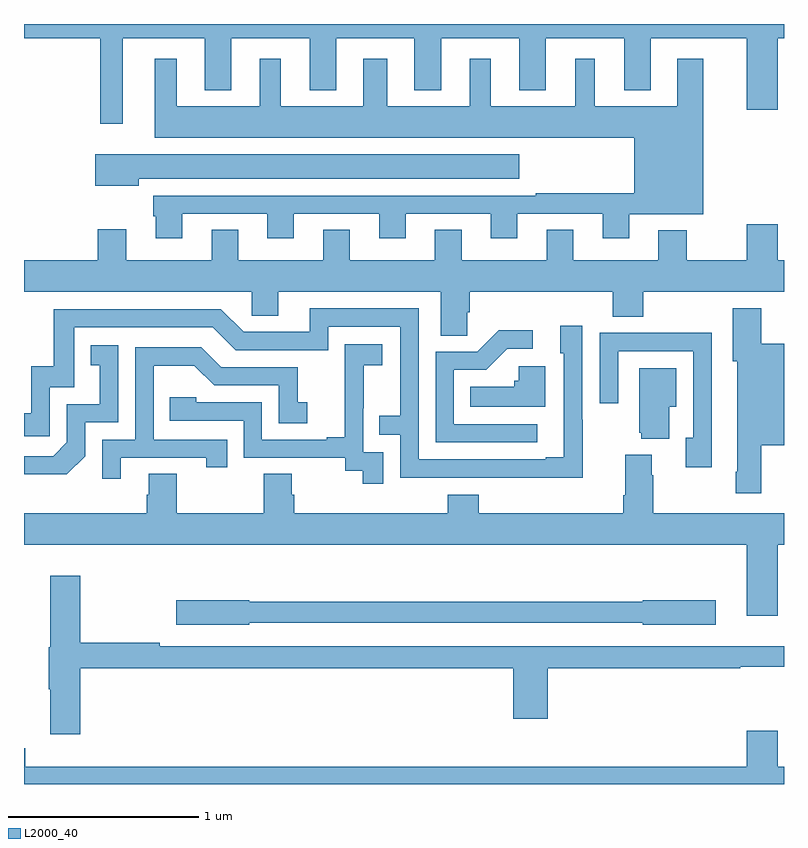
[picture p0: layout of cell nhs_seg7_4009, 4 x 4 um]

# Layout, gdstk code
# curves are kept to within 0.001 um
import gdstk
lib = gdstk.Library(unit=1e-6, precision=1e-09)
def P(c, l, *ps):  # polygons
    for p in ps: c.add(gdstk.Polygon(p, *l))
L2000_40 = (2000, 40)

nhs_seg7_4009 = lib.new_cell('nhs_seg7_4009')
P(nhs_seg7_4009, L2000_40, [(365,1025.924),(365.4,1025.924),(365.4,1025.475),(365.521,1025.475),(365.521,1025.924),(365.951,1025.924),(365.951,1025.651),(366.091,1025.651),(366.091,1025.924),(366.503,1025.924),(366.503,1025.651),(366.643,1025.651),(366.643,1025.924),(367.055,1025.924),(367.055,1025.651),(367.195,1025.651),(367.195,1025.924),(367.607,1025.924),(367.607,1025.651),(367.747,1025.651),(367.747,1025.924),(368.159,1025.924),(368.159,1025.651),(368.299,1025.651),(368.299,1025.924),(368.804,1025.924),(368.804,1025.55),(368.968,1025.55),(368.968,1025.924),(369,1025.924),(369,1026),(365,1026)],
  [(365.833,1025.001),(366.281,1025.001),(366.281,1024.872),(366.421,1024.872),(366.421,1025.001),(366.869,1025.001),(366.869,1024.872),(367.009,1024.872),(367.009,1025.001),(367.457,1025.001),(367.457,1024.872),(367.597,1024.872),(367.597,1025.001),(368.045,1025.001),(368.045,1024.872),(368.185,1024.872),(368.185,1025),(368.575,1025),(368.575,1025.818),(368.438,1025.818),(368.438,1025.566),(368.005,1025.566),(368.005,1025.818),(367.901,1025.818),(367.901,1025.566),(367.456,1025.566),(367.456,1025.818),(367.346,1025.818),(367.346,1025.566),(366.913,1025.566),(366.913,1025.818),(366.785,1025.818),(366.785,1025.566),(366.352,1025.566),(366.352,1025.818),(366.242,1025.818),(366.242,1025.566),(365.803,1025.566),(365.803,1025.818),(365.687,1025.818),(365.687,1025.402),(368.213,1025.402),(368.213,1025.11),(367.693,1025.11),(367.693,1025.097),(365.681,1025.097),(365.681,1024.989),(365.693,1024.989),(365.693,1024.872),(365.833,1024.872)],
  [(365.605,1025.186),(367.606,1025.186),(367.606,1025.314),(365.376,1025.314),(365.376,1025.15),(365.605,1025.15)],
  [(367.332,1024.483),(367.346,1024.483),(367.346,1024.592),(368.099,1024.592),(368.099,1024.459),(368.259,1024.459),(368.259,1024.592),(369,1024.592),(369,1024.756),(368.968,1024.756),(368.968,1024.945),(368.804,1024.945),(368.804,1024.756),(368.487,1024.756),(368.487,1024.915),(368.339,1024.915),(368.339,1024.756),(367.891,1024.756),(367.891,1024.916),(367.751,1024.916),(367.751,1024.756),(367.303,1024.756),(367.303,1024.916),(367.163,1024.916),(367.163,1024.756),(366.715,1024.756),(366.715,1024.916),(366.575,1024.916),(366.575,1024.756),(366.127,1024.756),(366.127,1024.916),(365.987,1024.916),(365.987,1024.756),(365.539,1024.756),(365.539,1024.921),(365.387,1024.921),(365.387,1024.756),(365,1024.756),(365,1024.592),(366.198,1024.592),(366.198,1024.465),(366.337,1024.465),(366.337,1024.592),(367.193,1024.592),(367.193,1024.36),(367.332,1024.36)],
  [(368.881,1023.782),(369,1023.782),(369,1024.317),(368.881,1024.317),(368.881,1024.504),(368.729,1024.504),(368.729,1024.224),(368.753,1024.224),(368.753,1023.643),(368.746,1023.643),(368.746,1023.531),(368.881,1023.531)],
  [(367.941,1023.917),(367.938,1023.917),(367.938,1024.411),(367.823,1024.411),(367.823,1024.266),(367.842,1024.266),(367.842,1023.721),(367.745,1023.721),(367.745,1023.708),(367.077,1023.708),(367.077,1024.503),(366.503,1024.503),(366.503,1024.38),(366.156,1024.38),(366.036,1024.5),(365.157,1024.5),(365.157,1024.198),(365.039,1024.198),(365.039,1023.951),(365,1023.951),(365,1023.831),(365.136,1023.831),(365.136,1024.089),(365.265,1024.089),(365.265,1024.404),(365.994,1024.404),(366.114,1024.284),(366.6,1024.284),(366.6,1024.407),(366.981,1024.407),(366.981,1023.938),(366.871,1023.938),(366.871,1023.837),(366.981,1023.837),(366.981,1023.612),(367.941,1023.611)],
  [(367.702,1023.894),(367.263,1023.894),(367.263,1024.179),(367.432,1024.179),(367.543,1024.29),(367.678,1024.29),(367.678,1024.388),(367.499,1024.388),(367.386,1024.275),(367.167,1024.275),(367.167,1023.798),(367.702,1023.798)],
  [(368.62,1024.124),(368.619,1024.124),(368.619,1024.376),(368.347,1024.376),(368.347,1024.374),(368.031,1024.374),(368.031,1024.005),(368.127,1024.005),(368.127,1024.278),(368.523,1024.278),(368.523,1023.822),(368.483,1023.822),(368.483,1023.666),(368.62,1023.666)],
  [(366.891,1023.747),(366.786,1023.747),(366.786,1023.977),(366.788,1023.977),(366.788,1024.205),(366.886,1024.205),(366.886,1024.315),(366.688,1024.315),(366.688,1024.109),(366.689,1024.109),(366.689,1023.826),(366.593,1023.826),(366.593,1023.813),(366.252,1023.813),(366.252,1024.008),(365.907,1024.008),(365.907,1024.035),(365.767,1024.035),(365.767,1023.912),(366.156,1023.912),(366.156,1023.717),(366.69,1023.717),(366.69,1023.649),(366.783,1023.649),(366.783,1023.579),(366.891,1023.579)],
  [(365.322,1023.726),(365.322,1023.903),(365.496,1023.903),(365.496,1024.309),(365.35,1024.309),(365.35,1024.203),(365.399,1024.203),(365.399,1023.999),(365.226,1023.999),(365.226,1023.798),(365.154,1023.726),(365,1023.726),(365,1023.629),(365.224,1023.629)],
  [(365.509,1023.717),(365.96,1023.717),(365.96,1023.666),(366.071,1023.666),(366.071,1023.813),(365.682,1023.813),(365.682,1024.202),(365.896,1024.202),(366,1024.098),(366.342,1024.098),(366.342,1023.9),(366.49,1023.9),(366.49,1024.009),(366.441,1024.009),(366.441,1024.194),(366.037,1024.194),(365.932,1024.299),(365.586,1024.299),(365.586,1023.813),(365.412,1023.813),(365.412,1023.606),(365.509,1023.606)],
  [(367.744,1024.198),(367.605,1024.198),(367.605,1024.122),(367.579,1024.122),(367.579,1024.09),(367.348,1024.09),(367.348,1023.986),(367.744,1023.986)],
  [(368.395,1023.986),(368.434,1023.986),(368.434,1024.189),(368.237,1024.189),(368.237,1023.849),(368.249,1023.849),(368.249,1023.818),(368.395,1023.818)],
  [(368.968,1023.26),(369,1023.26),(369,1023.424),(368.313,1023.424),(368.313,1023.626),(368.305,1023.626),(368.305,1023.733),(368.165,1023.733),(368.165,1023.52),(368.153,1023.52),(368.153,1023.424),(367.394,1023.424),(367.394,1023.523),(367.229,1023.523),(367.229,1023.424),(366.422,1023.424),(366.422,1023.522),(366.409,1023.522),(366.409,1023.632),(366.262,1023.632),(366.262,1023.424),(365.805,1023.424),(365.805,1023.632),(365.657,1023.632),(365.657,1023.522),(365.645,1023.522),(365.645,1023.424),(365,1023.424),(365,1023.26),(368.804,1023.26),(368.804,1022.886),(368.968,1022.886)],
  [(365.297,1022.608),(367.574,1022.608),(367.574,1022.343),(367.757,1022.343),(367.757,1022.608),(368.771,1022.608),(368.771,1022.616),(369,1022.616),(369,1022.725),(368.808,1022.725),(368.808,1022.724),(365.714,1022.724),(365.714,1022.744),(365.297,1022.744),(365.297,1023.097),(365.138,1023.097),(365.138,1022.721),(365.131,1022.721),(365.131,1022.5),(365.138,1022.5),(365.138,1022.262),(365.297,1022.262)],
  [(366.186,1022.85),(368.256,1022.85),(368.256,1022.837),(368.641,1022.837),(368.641,1022.967),(368.256,1022.967),(368.256,1022.959),(366.186,1022.959),(366.186,1022.967),(365.802,1022.967),(365.802,1022.837),(366.186,1022.837)],
  [(369,1022.092),(368.968,1022.092),(368.968,1022.281),(368.804,1022.281),(368.804,1022.092),(365.006,1022.092),(365.006,1022.188),(365,1022.188),(365,1022),(369,1022)])

lib.write_gds('nhs_seg7_4009.gds')
